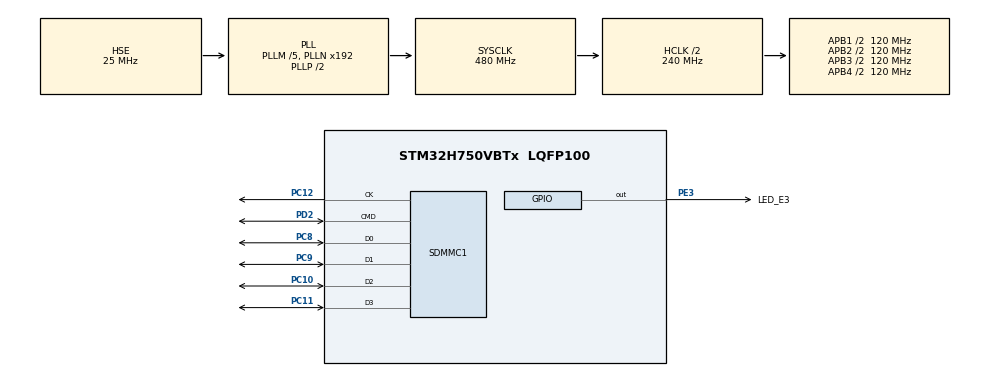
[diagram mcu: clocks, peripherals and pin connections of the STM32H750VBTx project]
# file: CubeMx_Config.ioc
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FATFS._CODE_PAGE=936
FATFS._FS_EXFAT=1
FATFS._FS_LOCK=50
FATFS._FS_NOFSINFO=0
FATFS._FS_RPATH=2
FATFS._LFN_UNICODE=0
FATFS._MAX_SS=512
FATFS._MIN_SS=512
FATFS._USE_FIND=1
FATFS._USE_FORWARD=1
FATFS._USE_LFN=3
FATFS._USE_MUTEX=1
FATFS._USE_STRFUNC=1
FREERTOS.HEAP_NUMBER=4
FREERTOS.Tasks01=MainTask,24,2048,task_main,As weak,NULL,Dynamic,NULL,NULL
FREERTOS.configCHECK_FOR_STACK_OVERFLOW=2
FREERTOS.configENABLE_FPU=1
FREERTOS.configTIMER_TASK_STACK_DEPTH=128
FREERTOS.configTOTAL_HEAP_SIZE=262144
FREERTOS.configUSE_TICK_HOOK=1
Mcu.Family=STM32H7
Mcu.Name=STM32H750VBTx
Mcu.Package=LQFP100
NVIC.PriorityGroup=NVIC_PRIORITYGROUP_4
NVIC.SDMMC1_IRQn=true\:5\:0\:false\:false\:true\:true\:true\:true
NVIC.TIM7_IRQn=true\:0\:0\:false\:false\:true\:false\:false\:true
NVIC.TimeBase=TIM7_IRQn
NVIC.TimeBaseIP=TIM7
PC10.Mode=SD_4_bits_Wide_bus
PC10.Signal=SDMMC1_D2
PC11.Mode=SD_4_bits_Wide_bus
PC11.Signal=SDMMC1_D3
PC12.Mode=SD_4_bits_Wide_bus
PC12.Signal=SDMMC1_CK
PC14-OSC32_IN\ (OSC32_IN).Mode=LSE-External-Oscillator
PC14-OSC32_IN\ (OSC32_IN).Signal=RCC_OSC32_IN
PC15-OSC32_OUT\ (OSC32_OUT).Mode=LSE-External-Oscillator
PC15-OSC32_OUT\ (OSC32_OUT).Signal=RCC_OSC32_OUT
PC8.Mode=SD_4_bits_Wide_bus
PC8.Signal=SDMMC1_D0
PC9.Mode=SD_4_bits_Wide_bus
PC9.Signal=SDMMC1_D1
PD2.Mode=SD_4_bits_Wide_bus
PD2.Signal=SDMMC1_CMD
PE3.GPIO_Label=LED_E3
PE3.GPIO_PuPd=GPIO_PULLUP
PE3.GPIO_Speed=GPIO_SPEED_FREQ_MEDIUM
PE3.PinState=GPIO_PIN_SET
PE3.Signal=GPIO_Output
PH0-OSC_IN\ (PH0).Mode=HSE-External-Oscillator
PH0-OSC_IN\ (PH0).Signal=RCC_OSC_IN
PH1-OSC_OUT\ (PH1).Mode=HSE-External-Oscillator
PH1-OSC_OUT\ (PH1).Signal=RCC_OSC_OUT
ProjectManager.HeapSize=0x000
ProjectManager.StackSize=0x400
ProjectManager.TargetToolchain=Makefile
RCC.ADCFreq_Value=200000000
RCC.APB1Freq_Value=120000000
RCC.APB2Freq_Value=120000000
RCC.APB3Freq_Value=120000000
RCC.APB4Freq_Value=120000000
RCC.CortexFreq_Value=480000000
RCC.D1PPRE=RCC_APB3_DIV2
RCC.D2PPRE1=RCC_APB1_DIV2
RCC.D2PPRE2=RCC_APB2_DIV2
RCC.D3PPRE=RCC_APB4_DIV2
RCC.DIVM1=5
RCC.DIVM2=5
RCC.DIVN1=192
RCC.DIVN2=80
RCC.DIVR2=20
RCC.EnbaleCSS=true
RCC.HCLKFreq_Value=240000000
RCC.HPRE=RCC_HCLK_DIV2
RCC.PLL2FRACN=0
RCC.PLL3FRACN=0
RCC.PLLFRACN=0
RCC.PLLSourceVirtual=RCC_PLLSOURCE_HSE
RCC.SDMMC1CLockSelection=RCC_SDMMCCLKSOURCE_PLL2
RCC.SYSCLKFreq_VALUE=480000000
RCC.SYSCLKSource=RCC_SYSCLKSOURCE_PLLCLK
RCC.USBFreq_Value=480000000
SDMMC1.ClockDiv=0
VP_FATFS_VS_SDIO.Mode=SDIO
VP_FREERTOS_VS_CMSIS_V2.Mode=CMSIS_V2
VP_SYS_VS_tim7.Mode=TIM7
board=custom

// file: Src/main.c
/* USER CODE BEGIN Header */
/**
  ******************************************************************************
  * @file           : main.c
  * @brief          : Main program body
  ******************************************************************************
  * @attention
  *
  * <h2><center>&copy; Copyright (c) 2021 STMicroelectronics.
  * All rights reserved.</center></h2>
  *
  * This software component is licensed by ST under BSD 3-Clause license,
  * the "License"; You may not use this file except in compliance with the
  * License. You may obtain a copy of the License at:
  *                        opensource.org/licenses/BSD-3-Clause
  *
  ******************************************************************************
  */
/* USER CODE END Header */
#include "main.h"
#include "cmsis_os.h"
#include "fatfs.h"

SD_HandleTypeDef hsd1;

/* Definitions for MainTask */
osThreadId_t MainTaskHandle;
const osThreadAttr_t MainTask_attributes = {
  .name = "MainTask",
  .priority = (osPriority_t) osPriorityNormal,
  .stack_size = 2048 * 4
};

void SystemClock_Config(void);
static void MX_GPIO_Init(void);
static void MX_SDMMC1_SD_Init(void);
void task_main(void *argument);

/* USER CODE BEGIN 0 */

static void pll_clock_init()
{
  RCC_PeriphCLKInitTypeDef PeriphClkInitStruct = {0};
  /* Initializes the CPU, AHB and APB buses clocks */
  PeriphClkInitStruct.PeriphClockSelection = RCC_PERIPHCLK_SDMMC;
  PeriphClkInitStruct.PLL2.PLL2M = 5;
  PeriphClkInitStruct.PLL2.PLL2N = 80;
  PeriphClkInitStruct.PLL2.PLL2P = 2;
  PeriphClkInitStruct.PLL2.PLL2Q = 2;
  PeriphClkInitStruct.PLL2.PLL2R = 20;
  PeriphClkInitStruct.PLL2.PLL2RGE = RCC_PLL2VCIRANGE_2;
  PeriphClkInitStruct.PLL2.PLL2VCOSEL = RCC_PLL2VCOWIDE;
  PeriphClkInitStruct.PLL2.PLL2FRACN = 0;
  PeriphClkInitStruct.SdmmcClockSelection = RCC_SDMMCCLKSOURCE_PLL2;
  if (HAL_RCCEx_PeriphCLKConfig(&PeriphClkInitStruct) != HAL_OK)
  {
    Error_Handler();
  }
}

/* USER CODE END 0 */

int main(void)
{
  /* USER CODE BEGIN 1 */

  /* set interrupt vector table */
  SCB->VTOR = QSPI_BASE;

  /*
    Init pll clock.
    We can't invoke 'SystemClock_Config()', because system clock is initialized by bootloader
  */
  pll_clock_init();

  /* USER CODE END 1 */

  /* MCU Configuration--------------------------------------------------------*/

  /* Reset of all peripherals, Initializes the Flash interface and the Systick. */
  HAL_Init();

  /* Initialize all configured peripherals */
  MX_GPIO_Init();
  MX_SDMMC1_SD_Init();
  MX_FATFS_Init();

  /* Init scheduler */
  osKernelInitialize();

  /* Create the thread(s) */
  /* creation of MainTask */
  MainTaskHandle = osThreadNew(task_main, NULL, &MainTask_attributes);

  /* Start scheduler */
  osKernelStart();

  /* We should never get here as control is now taken by the scheduler */
  /* Infinite loop */
  while (1)
  {

  }
}

void SystemClock_Config(void)
{
  RCC_OscInitTypeDef RCC_OscInitStruct = {0};
  RCC_ClkInitTypeDef RCC_ClkInitStruct = {0};
  RCC_PeriphCLKInitTypeDef PeriphClkInitStruct = {0};

  /** Supply configuration update enable
  */
  HAL_PWREx_ConfigSupply(PWR_LDO_SUPPLY);
  /** Configure the main internal regulator output voltage
  */
  __HAL_PWR_VOLTAGESCALING_CONFIG(PWR_REGULATOR_VOLTAGE_SCALE0);

  while(!__HAL_PWR_GET_FLAG(PWR_FLAG_VOSRDY)) {}
  /** Macro to configure the PLL clock source
  */
  __HAL_RCC_PLL_PLLSOURCE_CONFIG(RCC_PLLSOURCE_HSE);
  /** Initializes the RCC Oscillators according to the specified parameters
  * in the RCC_OscInitTypeDef structure.
  */
  RCC_OscInitStruct.OscillatorType = RCC_OSCILLATORTYPE_HSE;
  RCC_OscInitStruct.HSEState = RCC_HSE_ON;
  RCC_OscInitStruct.PLL.PLLState = RCC_PLL_ON;
  RCC_OscInitStruct.PLL.PLLSource = RCC_PLLSOURCE_HSE;
  RCC_OscInitStruct.PLL.PLLM = 5;
  RCC_OscInitStruct.PLL.PLLN = 192;
  RCC_OscInitStruct.PLL.PLLP = 2;
  RCC_OscInitStruct.PLL.PLLQ = 2;
  RCC_OscInitStruct.PLL.PLLR = 2;
  RCC_OscInitStruct.PLL.PLLRGE = RCC_PLL1VCIRANGE_2;
  RCC_OscInitStruct.PLL.PLLVCOSEL = RCC_PLL1VCOWIDE;
  RCC_OscInitStruct.PLL.PLLFRACN = 0;
  if (HAL_RCC_OscConfig(&RCC_OscInitStruct) != HAL_OK)
  {
    Error_Handler();
  }
  /** Initializes the CPU, AHB and APB buses clocks
  */
  RCC_ClkInitStruct.ClockType = RCC_CLOCKTYPE_HCLK|RCC_CLOCKTYPE_SYSCLK
                              |RCC_CLOCKTYPE_PCLK1|RCC_CLOCKTYPE_PCLK2
                              |RCC_CLOCKTYPE_D3PCLK1|RCC_CLOCKTYPE_D1PCLK1;
  RCC_ClkInitStruct.SYSCLKSource = RCC_SYSCLKSOURCE_PLLCLK;
  RCC_ClkInitStruct.SYSCLKDivider = RCC_SYSCLK_DIV1;
  RCC_ClkInitStruct.AHBCLKDivider = RCC_HCLK_DIV2;
  RCC_ClkInitStruct.APB3CLKDivider = RCC_APB3_DIV2;
  RCC_ClkInitStruct.APB1CLKDivider = RCC_APB1_DIV2;
  RCC_ClkInitStruct.APB2CLKDivider = RCC_APB2_DIV2;
  RCC_ClkInitStruct.APB4CLKDivider = RCC_APB4_DIV2;

  if (HAL_RCC_ClockConfig(&RCC_ClkInitStruct, FLASH_LATENCY_4) != HAL_OK)
  {
    Error_Handler();
  }
  PeriphClkInitStruct.PeriphClockSelection = RCC_PERIPHCLK_SDMMC;
  PeriphClkInitStruct.PLL2.PLL2M = 5;
  PeriphClkInitStruct.PLL2.PLL2N = 80;
  PeriphClkInitStruct.PLL2.PLL2P = 2;
  PeriphClkInitStruct.PLL2.PLL2Q = 2;
  PeriphClkInitStruct.PLL2.PLL2R = 20;
  PeriphClkInitStruct.PLL2.PLL2RGE = RCC_PLL2VCIRANGE_2;
  PeriphClkInitStruct.PLL2.PLL2VCOSEL = RCC_PLL2VCOWIDE;
  PeriphClkInitStruct.PLL2.PLL2FRACN = 0;
  PeriphClkInitStruct.SdmmcClockSelection = RCC_SDMMCCLKSOURCE_PLL2;
  if (HAL_RCCEx_PeriphCLKConfig(&PeriphClkInitStruct) != HAL_OK)
  {
    Error_Handler();
  }
  /** Enables the Clock Security System
  */
  HAL_RCC_EnableCSS();
}

static void MX_SDMMC1_SD_Init(void)
{

  hsd1.Instance = SDMMC1;
  hsd1.Init.ClockEdge = SDMMC_CLOCK_EDGE_RISING;
  hsd1.Init.ClockPowerSave = SDMMC_CLOCK_POWER_SAVE_DISABLE;
  hsd1.Init.BusWide = SDMMC_BUS_WIDE_4B;
  hsd1.Init.HardwareFlowControl = SDMMC_HARDWARE_FLOW_CONTROL_DISABLE;
  hsd1.Init.ClockDiv = 0;
  hsd1.Init.TranceiverPresent = SDMMC_TRANSCEIVER_NOT_PRESENT;

}

static void MX_GPIO_Init(void)
{
  GPIO_InitTypeDef GPIO_InitStruct = {0};

  /* GPIO Ports Clock Enable */
  __HAL_RCC_GPIOE_CLK_ENABLE();
  __HAL_RCC_GPIOC_CLK_ENABLE();
  __HAL_RCC_GPIOH_CLK_ENABLE();
  __HAL_RCC_GPIOD_CLK_ENABLE();

  /*Configure GPIO pin Output Level */
  HAL_GPIO_WritePin(LED_E3_GPIO_Port, LED_E3_Pin, GPIO_PIN_SET);

  /*Configure GPIO pin : LED_E3_Pin */
  GPIO_InitStruct.Pin = LED_E3_Pin;
  GPIO_InitStruct.Mode = GPIO_MODE_OUTPUT_PP;
  GPIO_InitStruct.Pull = GPIO_PULLUP;
  GPIO_InitStruct.Speed = GPIO_SPEED_FREQ_MEDIUM;
  HAL_GPIO_Init(LED_E3_GPIO_Port, &GPIO_InitStruct);

}

__weak void task_main(void *argument)
{
  for(;;)
  {
    osDelay(1);
  }
}

 /**
  * @brief  Period elapsed callback in non blocking mode
  * @note   This function is called  when TIM7 interrupt took place, inside
  * HAL_TIM_IRQHandler(). It makes a direct call to HAL_IncTick() to increment
  * a global variable "uwTick" used as application time base.
  * @param  htim : TIM handle
  * @retval None
  */
void HAL_TIM_PeriodElapsedCallback(TIM_HandleTypeDef *htim)
{
  if (htim->Instance == TIM7) {
    HAL_IncTick();
  }
}

void Error_Handler(void)
{
  __disable_irq();
  while (1)
  {
  }
}

/************************ (C) COPYRIGHT STMicroelectronics *****END OF FILE****/
